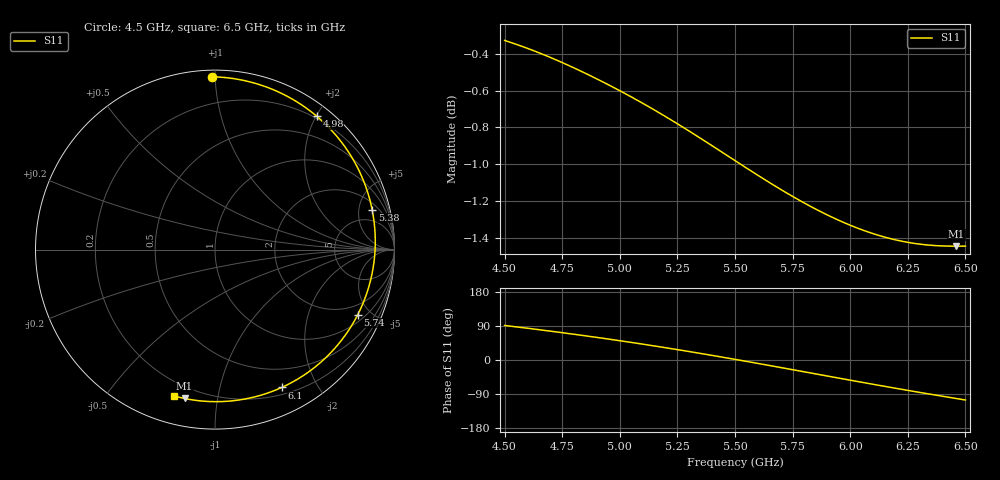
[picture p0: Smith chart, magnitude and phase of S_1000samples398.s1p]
! TOUCHSTONE file generated by CST MICROWAVE STUDIO
! Date and time: Fri Oct 28 00:54:17 2022
! Project name: L.cst
! Parameters = {Di=1.27; Epsilon_r=1.56; InnerDiameter=1.27; Length=2; Lf=10; Lg=60; OuterConductorThickness=0.2921; OuterDiameter=3.6; Wf=3; Wp=41.2; de=1.5; df=6.8; g=0.8; gx=3.92802; gy=2.76919; h=2.34; hf=1.524; px=9.25944; py=9.99629; w=9.7; wx=5.33142; wy=7.22709}
! Header version: 2018
! Port assignment regex: !\s*Touchstone port\s*([0-9]+)\s*=\s*(CST MWS port|CST DS port)\s*([0-9]+|Zmin|Zmax)\s*\(\"(.*)\"\)(\s*mode\s*([0-9]+))?.*
! Touchstone port assignment:
! Touchstone port 1 = CST MWS port 1 ("")
# GHz S DB R 50
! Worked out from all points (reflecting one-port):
!   101 points, 4.5 GHz to 6.5 GHz, reference 50 ohm
!   lowest |S11| = -1.4 dB at 6.46 GHz (marker M1), VSWR 12.04, Z = 6.89 - j40.3 ohm
!   phase of S11 starts at 91 deg and turns -197 deg over the sweep
!   S11 on the Smith chart (normalised r, x): 4.5 GHz: 0.04, +0.98; 4.98 GHz: 0.17, +2.01; 5.38 GHz: 2.84, +6.85; 5.74 GHz: 1.36, -4.19; 6.1 GHz: 0.28, -1.56; 6.5 GHz: 0.13, -0.75
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4.5  -0.33 91.2
4.64  -0.39 80.7
4.76  -0.45 71.3
4.88  -0.52 61.3
4.98  -0.59 52.7
5  -0.60 50.9
5.12  -0.68 39.9
5.2  -0.74 32.3
5.26  -0.79 26.4
5.32  -0.84 20.4
5.38  -0.88 14.2
5.44  -0.93 8.0
5.5  -0.98 1.7
5.56  -1.03 -4.8
5.62  -1.08 -11.3
5.68  -1.12 -17.9
5.74  -1.17 -24.5
5.76  -1.18 -26.7
5.82  -1.22 -33.3
5.88  -1.26 -40.0
5.94  -1.30 -46.6
6  -1.33 -53.2
6.1  -1.38 -64.2
6.18  -1.41 -72.8
6.26  -1.43 -81.2
6.36  -1.44 -91.5
6.46  -1.45 -101.6
6.5  -1.45 -105.5
